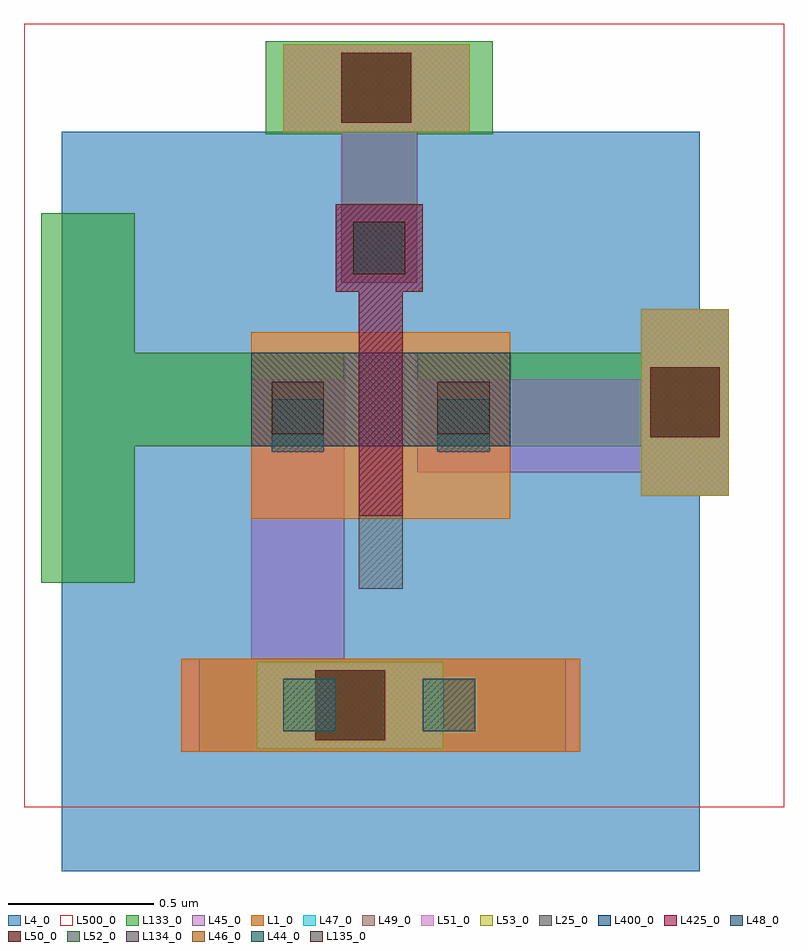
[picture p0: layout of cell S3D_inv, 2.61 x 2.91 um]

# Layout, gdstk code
from math import pi, radians
import gdstk
lib = gdstk.Library(unit=1e-6, precision=1e-09)
def R(c, l, rs):  # rectangles x0, y0, x1, y1
    for r in rs: c.add(gdstk.rectangle(r[:2], r[2:], *l))
L1_0 = (1, 0)
L4_0 = (4, 0)
L25_0 = (25, 0)
L44_0 = (44, 0)
L45_0 = (45, 0)
L46_0 = (46, 0)
L47_0 = (47, 0)
L48_0 = (48, 0)
L49_0 = (49, 0)
L50_0 = (50, 0)
L51_0 = (51, 0)
L52_0 = (52, 0)
L53_0 = (53, 0)
L133_0 = (133, 0)
L134_0 = (134, 0)
L135_0 = (135, 0)
L400_0 = (400, 0)
L425_0 = (425, 0)
L500_0 = (500, 0)

abutcontact_cdns_4474105 = lib.new_cell('AbutContact_CDNS_447410535922')
R(abutcontact_cdns_4474105, L1_0, [(-0.05,-0.03,1.32,0.29)])
R(abutcontact_cdns_4474105, L44_0, [(0.3,0.04,0.48,0.22), (0.78,0.04,0.96,0.22)])
R(abutcontact_cdns_4474105, L45_0, [(-0.05,-0.03,1.32,0.29)])

pmos_hs_4_cdns_447410535 = lib.new_cell('pmos_hs_4_CDNS_447410535920')
R(pmos_hs_4_cdns_447410535, L1_0, [(-0.37,0,0,0.64), (0,0,0.15,0.64), (0.15,0,0.52,0.64), (-0.37,0.16,-0.05,0.48), (0.2,0.16,0.52,0.48)])
R(pmos_hs_4_cdns_447410535, L4_0, [(-1.02,-1.21,1.17,1.33), (-1.02,-1.21,1.17,1.33), (-0.77,-0.96,0.92,0.96)])
R(pmos_hs_4_cdns_447410535, L25_0, [(0,-0.24,0.15,0), (0,-0.24,0.15,0.88), (0,0.64,0.15,0.88), (-0.08,0.78,0.22,1.08), (-0.08,0.78,0.22,1.08)])
R(pmos_hs_4_cdns_447410535, L44_0, [(-0.3,0.23,-0.12,0.41), (0.27,0.23,0.45,0.41), (-0.02,0.84,0.16,1.02)])
R(pmos_hs_4_cdns_447410535, L45_0, [(-0.61,-0.8,0.76,-0.48), (-0.37,0.16,-0.05,0.48), (0.2,0.16,0.52,0.48), (-0.06,0.81,0.2,1.05)])
pmos_hs_4_cdns_447410535.add(gdstk.Reference(abutcontact_cdns_4474105, (-0.56,-0.77)))

nmos_hs_4_top_cdns_44741 = lib.new_cell('nmos_hs_4_top_CDNS_447410535921')
R(nmos_hs_4_top_cdns_44741, L133_0, [(-0.37,0,-0.05,0.32), (0.2,0,0.52,0.32), (-0.28,0.06,-0.14,0.2), (0.29,0.06,0.43,0.2), (-0.06,0.56,0.2,0.8), (0,0.61,0.14,0.75)])
R(nmos_hs_4_top_cdns_44741, L135_0, [(-0.3,0.04,-0.12,0.22), (0.27,0.04,0.45,0.22), (-0.02,0.59,0.16,0.77)])
R(nmos_hs_4_top_cdns_44741, L400_0, [(-0.37,0,-0.05,0.32), (-0.05,0,0,0.32), (0,0,0.15,0.32), (0.15,0,0.2,0.32), (0.2,0,0.52,0.32)])
R(nmos_hs_4_top_cdns_44741, L425_0, [(0,-0.24,0.15,0.53), (-0.08,0.53,0.22,0.83)])

m2_m3_cdns_447410535920 = lib.new_cell('M2_M3_CDNS_447410535920')
R(m2_m3_cdns_447410535920, L47_0, [(-0.15,-0.32,0.15,0.32)])
R(m2_m3_cdns_447410535920, L48_0, [(-0.12,-0.12,0.12,0.12)])
R(m2_m3_cdns_447410535920, L49_0, [(-0.15,-0.32,0.15,0.32)])

m3_m4_cdns_447410535921 = lib.new_cell('M3_M4_CDNS_447410535921')
R(m3_m4_cdns_447410535921, L49_0, [(-0.15,-0.32,0.15,0.32)])
R(m3_m4_cdns_447410535921, L50_0, [(-0.12,-0.12,0.12,0.12)])
R(m3_m4_cdns_447410535921, L51_0, [(-0.15,-0.32,0.15,0.32)])

m4_m5_cdns_447410535922 = lib.new_cell('M4_M5_CDNS_447410535922')
R(m4_m5_cdns_447410535922, L51_0, [(-0.15,-0.32,0.15,0.32)])
R(m4_m5_cdns_447410535922, L52_0, [(-0.12,-0.12,0.12,0.12)])
R(m4_m5_cdns_447410535922, L53_0, [(-0.15,-0.32,0.15,0.32)])

m5_m1_top_cdns_447410535 = lib.new_cell('M5_M1_top_CDNS_447410535923')
R(m5_m1_top_cdns_447410535, L53_0, [(-0.15,-0.32,0.15,0.32)])
R(m5_m1_top_cdns_447410535, L133_0, [(-0.15,-0.16,0.15,0.16)])
R(m5_m1_top_cdns_447410535, L134_0, [(-0.12,-0.12,0.12,0.12)])

m1_m2_cdns_447410535924 = lib.new_cell('M1_M2_CDNS_447410535924')
R(m1_m2_cdns_447410535924, L45_0, [(-0.15,-0.32,0.15,0.32)])
R(m1_m2_cdns_447410535924, L46_0, [(-0.12,-0.12,0.12,0.12)])
R(m1_m2_cdns_447410535924, L47_0, [(-0.15,-0.32,0.15,0.32)])

s3d_inv = lib.new_cell('S3D_inv')
R(s3d_inv, L45_0, [(1.84,1.27,2.16,2.52), (2.41,2.2,3.18,2.52), (2.15,2.85,2.41,3.67)])
R(s3d_inv, L133_0, [(1.66,1.24,2.92,1.56), (1.12,1.82,1.44,3.09), (3.18,2.12,3.48,2.76), (1.44,2.29,2.16,2.61), (2.41,2.29,3.48,2.61), (2.15,2.85,2.41,3.68), (1.89,3.36,2.67,3.68)])
R(s3d_inv, L500_0, [(1.06,1.05,3.67,3.74)])
s3d_inv.add(gdstk.Reference(pmos_hs_4_cdns_447410535, (2.21,2.04)))
s3d_inv.add(gdstk.Reference(nmos_hs_4_top_cdns_44741, (2.21,2.29)))
s3d_inv.add(gdstk.Reference(m2_m3_cdns_447410535920, (2.18,1.4), rotation=pi/2))
s3d_inv.add(gdstk.Reference(m2_m3_cdns_447410535920, (3.33,2.44)))
s3d_inv.add(gdstk.Reference(m2_m3_cdns_447410535920, (2.27,3.52), rotation=pi/2))
s3d_inv.add(gdstk.Reference(m3_m4_cdns_447410535921, (2.18,1.4), rotation=pi/2))
s3d_inv.add(gdstk.Reference(m3_m4_cdns_447410535921, (3.33,2.44)))
s3d_inv.add(gdstk.Reference(m3_m4_cdns_447410535921, (2.27,3.52), rotation=pi/2))
s3d_inv.add(gdstk.Reference(m4_m5_cdns_447410535922, (2.18,1.4), rotation=pi/2))
s3d_inv.add(gdstk.Reference(m4_m5_cdns_447410535922, (3.33,2.44)))
s3d_inv.add(gdstk.Reference(m4_m5_cdns_447410535922, (2.27,3.52), rotation=pi/2))
s3d_inv.add(gdstk.Reference(m5_m1_top_cdns_447410535, (2.18,1.4), rotation=pi/2))
s3d_inv.add(gdstk.Reference(m5_m1_top_cdns_447410535, (3.33,2.44)))
s3d_inv.add(gdstk.Reference(m5_m1_top_cdns_447410535, (2.27,3.52), rotation=pi/2))
s3d_inv.add(gdstk.Reference(m1_m2_cdns_447410535924, (2.18,1.4), rotation=pi/2))
s3d_inv.add(gdstk.Reference(m1_m2_cdns_447410535924, (3.33,2.44)))
s3d_inv.add(gdstk.Reference(m1_m2_cdns_447410535924, (2.27,3.52), rotation=pi/2))

lib.write_gds('S3D_inv.gds')
